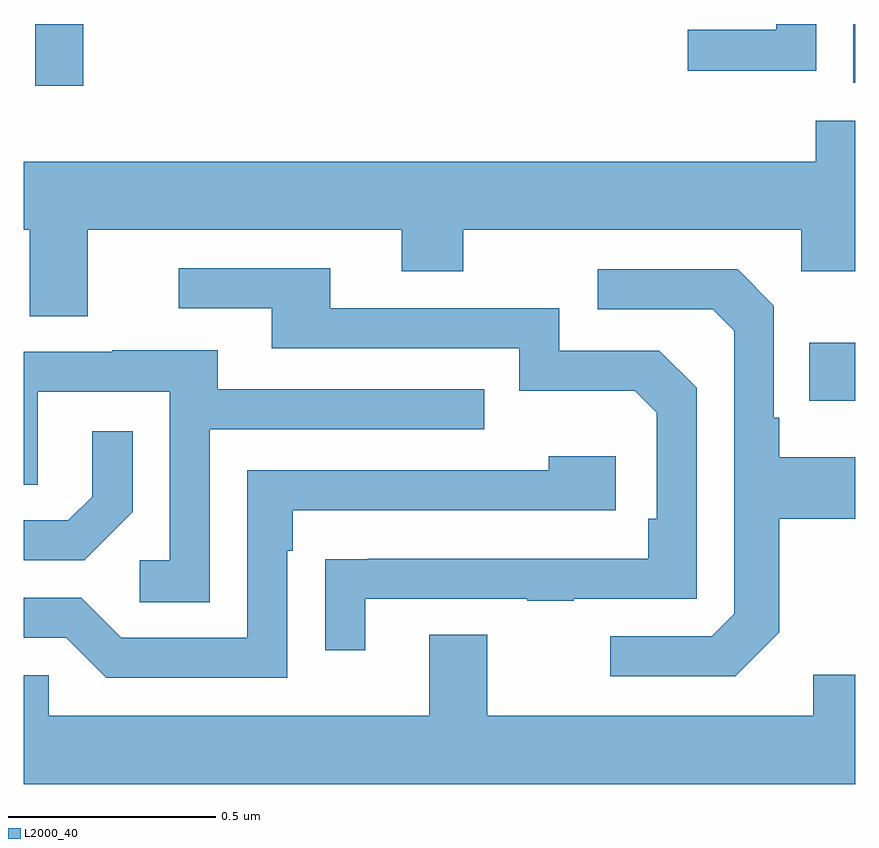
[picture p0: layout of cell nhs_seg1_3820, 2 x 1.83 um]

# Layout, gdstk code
import gdstk
lib = gdstk.Library(unit=1e-6, precision=1e-09)
def R(c, l, rs):  # rectangles x0, y0, x1, y1
    for r in rs: c.add(gdstk.rectangle(r[:2], r[2:], *l))
def P(c, l, *ps):  # polygons
    for p in ps: c.add(gdstk.Polygon(p, *l))
L2000_40 = (2000, 40)

nhs_seg1_3820 = lib.new_cell('nhs_seg1_3820')
R(nhs_seg1_3820, L2000_40, [(159.889,579.293,160,579.433), (158.028,580.05,158.144,580.199), (159.995,580.058,160,580.199)])
P(nhs_seg1_3820, L2000_40, [(159.906,580.199),(159.81,580.199),(159.81,580.185),(159.597,580.185),(159.597,580.087),(159.906,580.087)],
  [(158.155,579.704),(158.909,579.704),(158.909,579.605),(159.057,579.605),(159.057,579.704),(159.87,579.704),(159.87,579.605),(160,579.605),(160,579.967),(159.905,579.967),(159.905,579.868),(158,579.868),(158,579.704),(158.015,579.704),(158.015,579.496),(158.155,579.496)],
  [(158.821,578.817),(159.211,578.817),(159.211,578.812),(159.323,578.812),(159.323,578.817),(159.618,578.817),(159.618,579.324),(159.528,579.414),(159.288,579.414),(159.288,579.516),(158.737,579.516),(158.737,579.612),(158.373,579.612),(158.373,579.516),(158.597,579.516),(158.597,579.42),(159.192,579.42),(159.192,579.317),(159.469,579.317),(159.522,579.264),(159.522,579.01),(159.502,579.01),(159.502,578.913),(158.827,578.913),(158.827,578.912),(158.725,578.912),(158.725,578.694),(158.821,578.694)],
  [(159.817,578.737),(159.817,579.01),(160,579.01),(160,579.157),(159.817,579.157),(159.817,579.253),(159.804,579.253),(159.804,579.522),(159.717,579.609),(159.381,579.609),(159.381,579.513),(159.657,579.513),(159.708,579.462),(159.708,578.781),(159.654,578.727),(159.411,578.727),(159.411,578.631),(159.711,578.631)],
  [(158.448,579.225),(159.107,579.225),(159.107,579.321),(158.467,579.321),(158.467,579.415),(158.213,579.415),(158.213,579.411),(158,579.411),(158,579.091),(158.034,579.091),(158.034,579.315),(158.352,579.315),(158.352,578.91),(158.28,578.91),(158.28,578.809),(158.448,578.809)],
  [(158.262,579.026),(158.262,579.22),(158.165,579.22),(158.165,579.063),(158.108,579.006),(158,579.006),(158,578.91),(158.146,578.91)],
  [(158.634,578.933),(158.647,578.933),(158.647,579.03),(159.424,579.03),(159.424,579.16),(159.263,579.16),(159.263,579.126),(158.538,579.126),(158.538,578.724),(158.235,578.724),(158.139,578.82),(158,578.82),(158,578.724),(158.103,578.724),(158.199,578.628),(158.634,578.628)],
  [(160,578.635),(159.899,578.635),(159.899,578.536),(159.115,578.536),(159.115,578.731),(158.975,578.731),(158.975,578.536),(158.061,578.536),(158.061,578.634),(158,578.634),(158,578.372),(160,578.372)])

lib.write_gds('nhs_seg1_3820.gds')
